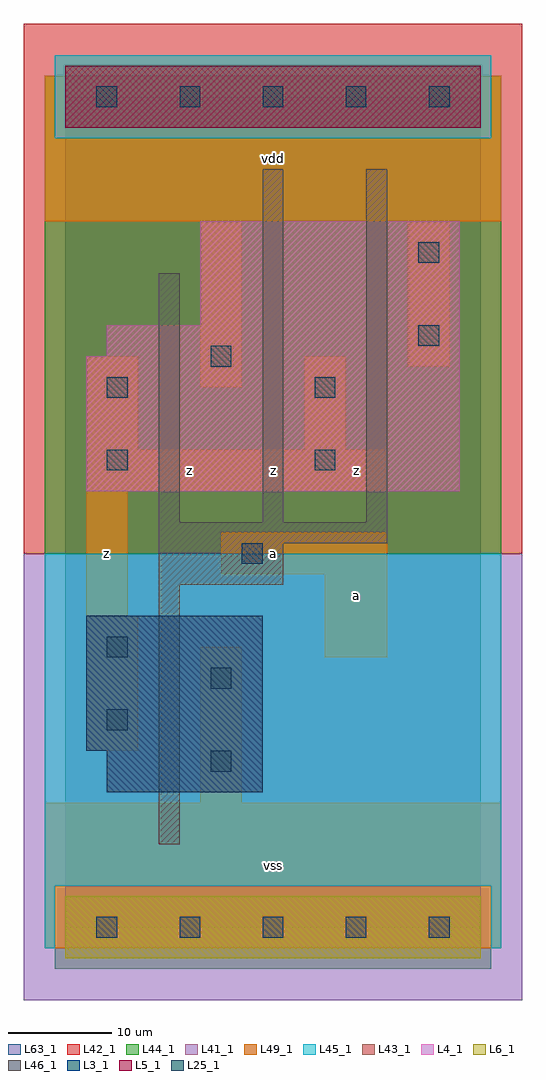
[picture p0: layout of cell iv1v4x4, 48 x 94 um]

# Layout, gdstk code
import gdstk
lib = gdstk.Library(unit=1e-6, precision=1e-09)
def R(c, l, rs):  # rectangles x0, y0, x1, y1
    for r in rs: c.add(gdstk.rectangle(r[:2], r[2:], *l))
def A(c, l, x, y, w, h, nx, ny, dx, dy):  # array of equal rectangles
    R(c, l, [(x+i*dx, y+j*dy, x+i*dx+w, y+j*dy+h) for i in range(nx) for j in range(ny)])
L3_1 = (3, 1)
L4_1 = (4, 1)
L5_1 = (5, 1)
L6_1 = (6, 1)
L25_1 = (25, 1)
L41_1 = (41, 1)
L42_1 = (42, 1)
L43_1 = (43, 1)
L44_1 = (44, 1)
L45_1 = (45, 1)
L46_1 = (46, 1)
L49_1 = (49, 1)
L63_1 = (63, 1)

iv1v4x4 = lib.new_cell('iv1v4x4')
R(iv1v4x4, L3_1, [(4,13,19,17), (2,17,19,30)])
R(iv1v4x4, L4_1, [(2,42,38,55), (4,55,38,58), (13,58,38,68)])
R(iv1v4x4, L5_1, [(0,77,40,83)])
R(iv1v4x4, L6_1, [(0,-3,40,3), (0,-3,40,3)])
A(iv1v4x4, L25_1, 3, -1, 2, 2, 5, 2, 8, 80)
R(iv1v4x4, L25_1, [(14,15,16,17), (4,19,6,21), (14,23,16,25), (4,26,6,28), (17,35,19,37), (4,44,6,46), (24,44,26,46), (4,51,6,53), (24,51,26,53), (14,54,16,56), (34,56,36,58), (34,64,36,66)])
R(iv1v4x4, L41_1, [(-4,-7,44,36)])
R(iv1v4x4, L42_1, [(-4,36,44,87)])
R(iv1v4x4, L43_1, [(0,-3,40,3), (4,13,19,17), (2,17,19,30), (2,42,38,55), (4,55,38,58), (13,58,38,68), (0,77,40,83)])
R(iv1v4x4, L44_1, [(-1,-4,41,4), (-2,36,42,76), (-2,76,-1,82), (41,76,42,82)])
R(iv1v4x4, L45_1, [(-2,-2,-1,4), (41,-2,42,4), (-2,4,42,36), (-1,76,41,84)])
R(iv1v4x4, L46_1, [(9,8,11,33), (9,33,21,37), (9,37,31,39), (9,39,11,63), (19,39,21,73), (29,39,31,73)])
R(iv1v4x4, L49_1, [(-2,-2,42,12), (13,12,17,27), (2,17,7,30), (25,26,31,34), (2,30,6,42), (15,34,31,38), (2,42,31,46), (2,46,7,55), (23,46,27,55), (13,52,17,68), (33,54,37,68), (-2,68,42,82)])
R(iv1v4x4, L63_1, [(0,0,40,80)])
iv1v4x4.add(gdstk.Label('z', (4,36), layer=49, texttype=1))
iv1v4x4.add(gdstk.Label('z', (12,44), layer=49, texttype=1))
iv1v4x4.add(gdstk.Label('vss', (20,6), layer=49, texttype=1))
iv1v4x4.add(gdstk.Label('a', (20,36), layer=49, texttype=1))
iv1v4x4.add(gdstk.Label('a', (28,32), layer=49, texttype=1))
iv1v4x4.add(gdstk.Label('z', (28,44), layer=49, texttype=1))
iv1v4x4.add(gdstk.Label('z', (20,44), layer=49, texttype=1))
iv1v4x4.add(gdstk.Label('vdd', (20,74), layer=49, texttype=1))

lib.write_gds('iv1v4x4.gds')
